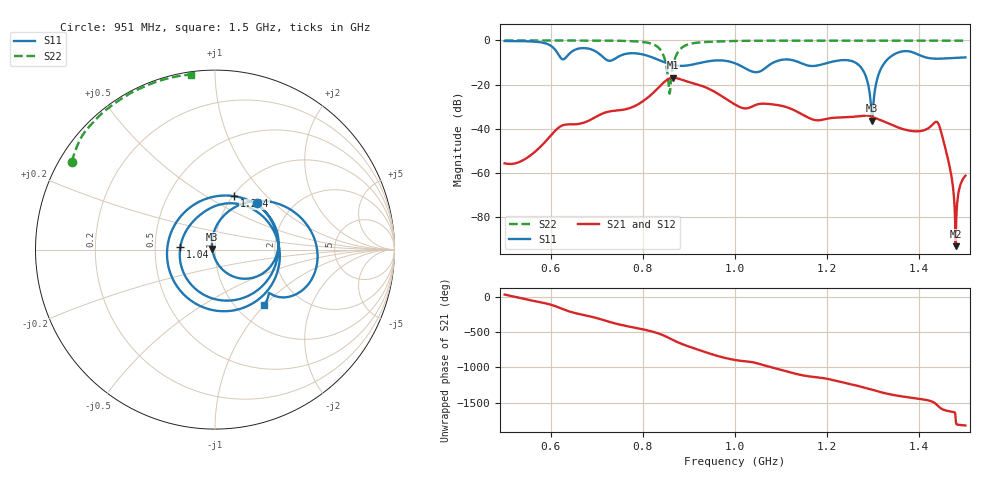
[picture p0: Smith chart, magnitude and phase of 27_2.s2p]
! TOUCHSTONE file generated by CST MICROWAVE STUDIO
! Date and time: Thu Feb 11 19:34:37 2021
! Project name: Scenario_1_Planar_Body_Tissue_Out_of_Line.cst
! Parameters = {L_HA=400; Ltissue=1000; MT=2.54; Rad_Dielectric=30; Rad_Lower=7.3; Rad_Upper=30; Wtissue=1000; a_HA=580; a_WG=246; b_HA=500; b_WG=121; c_HA=0; c_WG=187; d_feed=85; dx1=346; dy1=103.8; h_feed=15; h_lower=18; h_upper=40; hfat=3; hgap=25; hmuscle=50; hskin=1.5}
! Header version: 2018
! Port assignment regex: !\s*Touchstone port\s*([0-9]+)\s*=\s*(CST MWS port|CST DS port)\s*([0-9]+|Zmin|Zmax)\s*\(\"(.*)\"\)(\s*mode\s*([0-9]+))?.*
! Touchstone port assignment:
! Touchstone port 1 = CST MWS port 1 ("")
! Touchstone port 2 = CST MWS port 2 ("")
# GHz S DB R 50
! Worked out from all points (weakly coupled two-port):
!   1003 points, 500 MHz to 1.5 GHz, reference 50 ohm
!   highest |S21| = -16.91 dB at 866 MHz (marker M1); lowest = -93.2 dB at 1.479 GHz (marker M2)
!   lowest |S11| = -36.3 dB at 1.298 GHz (marker M3), VSWR 1.03, Z = 48.5 + j0.303 ohm
!   |S11| at or under -10 dB: 848.5 MHz to 928.1 MHz (79.66 MHz wide, 8.97 % of centre); 995.3 MHz to 1.083 GHz (88.13 MHz wide, 8.48 % of centre); 1.14 GHz to 1.204 GHz (64.1 MHz wide, 5.47 % of centre) (the widest 3 of 4)
!   |S22| runs from -24.1 to 0.0 dB; largest |S21 - S12| = 5.9e-06
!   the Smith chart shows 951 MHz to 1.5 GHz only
!   S11 on the Smith chart (normalised r, x): 951 MHz: 1.34, +0.79; 1.04 GHz: 0.68, +0.02; 1.204 GHz: 1.01, +0.67; 1.5 GHz: 1.33, -0.99
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0.5  -0.27 -121.5  -55.68 32.8  -55.68 32.8  -0.01 151.1
0.667  -3.50 155.3  -37.55 109.2  -37.55 109.2  -0.04 138.4
0.716  -7.98 24.3  -32.84 28.4  -32.84 28.4  -0.09 132.8
0.74  -8.20 -97.6  -31.82 -17.2  -31.82 -17.2  -0.14 129.2
0.768  -5.90 176.1  -30.89 -58.1  -30.89 -58.1  -0.26 123.6
0.8  -6.36 104.6  -27.57 -99.9  -27.57 -99.9  -0.69 112.7
0.834  -8.82 24.7  -21.38 -159.2  -21.38 -159.2  -3.28 84.2
0.857  -10.61 -39.8  -17.31 135.6  -17.31 135.6  -22.52 -10.0
0.866  -11.12 -67.8  -16.91 105.9  -16.91 105.9  -11.00 -140.7
0.905  -11.04 169.1  -19.15 4.2  -19.15 4.2  -1.43 164.8
0.951  -9.19 48.2  -22.73 -96.1  -22.73 -96.1  -0.57 148.5
1  -10.35 -66.8  -29.04 -174.9  -29.04 -174.9  -0.25 140.4
1.04  -14.25 175.8  -29.67 151.1  -29.67 151.1  -0.17 135.4
1.101  -8.81 -5.5  -29.62 42.2  -29.62 42.2  -0.12 129.6
1.167  -11.61 160.7  -35.71 -52.6  -35.71 -52.6  -0.10 124.2
1.204  -10.00 70.4  -35.31 -87.6  -35.31 -87.6  -0.10 121.4
1.27  -11.42 -35.2  -34.29 171.5  -34.29 171.5  -0.08 116.3
1.298  -36.34 168.2  -34.65 123.3  -34.65 123.3  -0.09 114.3
1.334  -8.00 42.5  -37.73 61.4  -37.73 61.4  -0.09 111.5
1.44  -8.28 -38.8  -37.26 -102.6  -37.27 -102.6  -0.10 103.1
1.479  -7.88 -44.1  -93.24 51.4  -93.29 49.4  -0.12 99.8
1.5  -7.68 -48.5  -61.30 -23.3  -61.30 -23.3  -0.13 98.0
